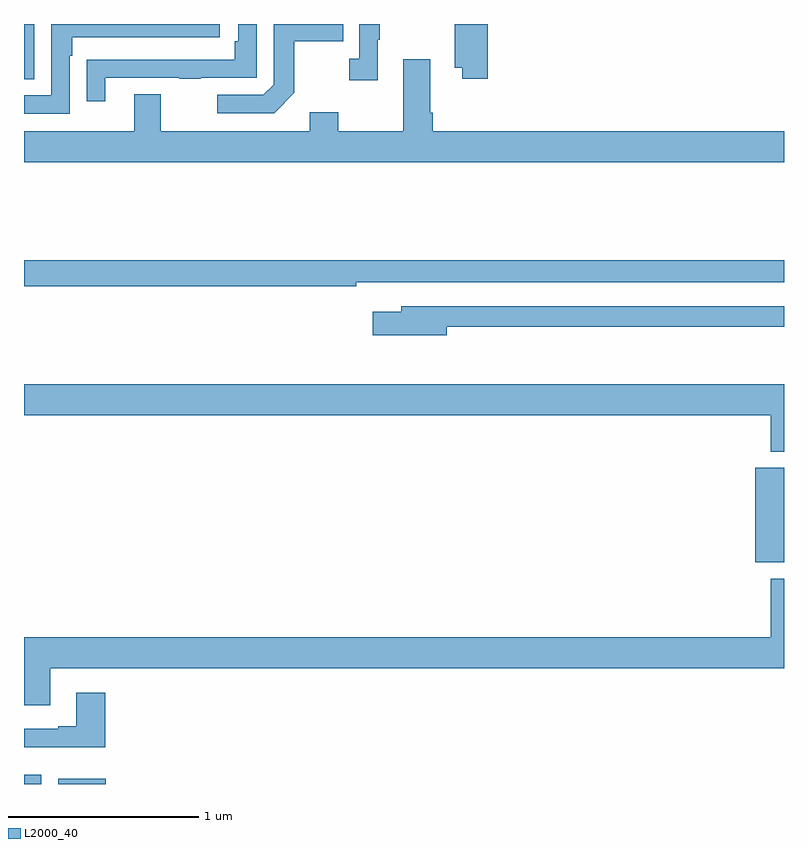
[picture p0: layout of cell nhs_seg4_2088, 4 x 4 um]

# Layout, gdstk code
import gdstk
lib = gdstk.Library(unit=1e-6, precision=1e-09)
def R(c, l, rs):  # rectangles x0, y0, x1, y1
    for r in rs: c.add(gdstk.rectangle(r[:2], r[2:], *l))
def P(c, l, *ps):  # polygons
    for p in ps: c.add(gdstk.Polygon(p, *l))
L2000_40 = (2000, 40)

nhs_seg4_2088 = lib.new_cell('nhs_seg4_2088')
R(nhs_seg4_2088, L2000_40, [(219,774.9,219.091,774.949), (219.179,774.9,219.43,774.928), (222.848,776.066,223,776.565), (219,778.609,219.054,778.9)])
P(nhs_seg4_2088, L2000_40, [(219.24,778.733),(219.253,778.733),(219.253,778.83),(220.03,778.83),(220.03,778.9),(219.144,778.9),(219.144,778.524),(219,778.524),(219,778.428),(219.24,778.428)],
  [(220.423,778.537),(220.423,778.81),(220.679,778.81),(220.679,778.9),(220.314,778.9),(220.314,778.581),(220.26,778.527),(220.017,778.527),(220.017,778.431),(220.317,778.431)],
  [(219.427,778.617),(219.817,778.617),(219.817,778.612),(219.929,778.612),(219.929,778.617),(220.224,778.617),(220.224,778.9),(220.128,778.9),(220.128,778.81),(220.108,778.81),(220.108,778.713),(219.433,778.713),(219.433,778.712),(219.331,778.712),(219.331,778.494),(219.427,778.494)],
  [(221.441,778.9),(221.266,778.9),(221.266,778.67),(221.306,778.67),(221.306,778.611),(221.441,778.611)],
  [(220.861,778.817),(220.873,778.817),(220.873,778.9),(220.764,778.9),(220.764,778.718),(220.713,778.718),(220.713,778.605),(220.861,778.605)],
  [(223,778.336),(221.15,778.336),(221.15,778.432),(221.137,778.432),(221.137,778.714),(220.997,778.714),(220.997,778.336),(220.653,778.336),(220.653,778.435),(220.505,778.435),(220.505,778.336),(219.721,778.336),(219.721,778.531),(219.581,778.531),(219.581,778.336),(219,778.336),(219,778.172),(223,778.172)],
  [(220.748,777.54),(223,777.54),(223,777.656),(219,777.656),(219,777.52),(220.748,777.52)],
  [(221.224,777.306),(223,777.306),(223,777.414),(220.985,777.414),(220.985,777.385),(220.836,777.385),(220.836,777.263),(221.224,777.263)],
  [(223,777.004),(219,777.004),(219,776.84),(222.929,776.84),(222.929,776.65),(223,776.65)],
  [(219.139,775.508),(223,775.508),(223,775.981),(222.929,775.981),(222.929,775.672),(219,775.672),(219,775.314),(219.139,775.314)],
  [(219.428,775.381),(219.275,775.381),(219.275,775.204),(219.179,775.204),(219.179,775.191),(219,775.191),(219,775.094),(219.428,775.094)])

lib.write_gds('nhs_seg4_2088.gds')
